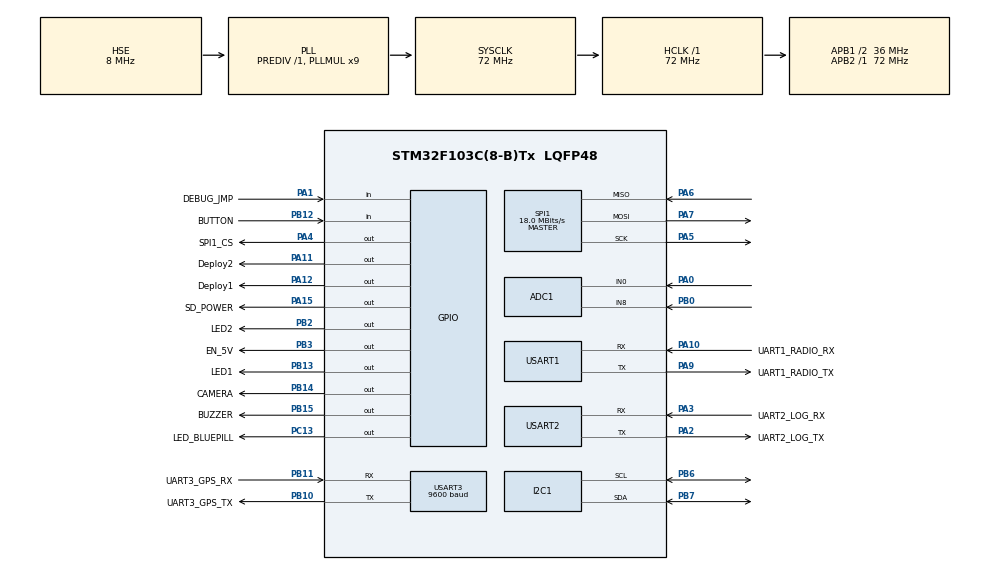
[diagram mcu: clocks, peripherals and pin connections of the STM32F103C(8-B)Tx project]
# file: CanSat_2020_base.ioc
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ADC1.Channel-1\#ChannelRegularConversion=ADC_CHANNEL_0
ADC1.NbrOfConversionFlag=1
ADC1.Rank-1\#ChannelRegularConversion=1
ADC1.SamplingTime-1\#ChannelRegularConversion=ADC_SAMPLETIME_1CYCLE_5
ADC1.master=1
Dma.Request0=USART1_TX
Dma.Request1=USART1_RX
Dma.USART1_RX.1.Direction=DMA_PERIPH_TO_MEMORY
Dma.USART1_RX.1.Instance=DMA1_Channel5
Dma.USART1_RX.1.MemDataAlignment=DMA_MDATAALIGN_BYTE
Dma.USART1_RX.1.MemInc=DMA_MINC_ENABLE
Dma.USART1_RX.1.Mode=DMA_NORMAL
Dma.USART1_RX.1.PeriphDataAlignment=DMA_PDATAALIGN_BYTE
Dma.USART1_RX.1.PeriphInc=DMA_PINC_DISABLE
Dma.USART1_RX.1.Priority=DMA_PRIORITY_LOW
Dma.USART1_TX.0.Direction=DMA_MEMORY_TO_PERIPH
Dma.USART1_TX.0.Instance=DMA1_Channel4
Dma.USART1_TX.0.MemDataAlignment=DMA_MDATAALIGN_BYTE
Dma.USART1_TX.0.MemInc=DMA_MINC_ENABLE
Dma.USART1_TX.0.Mode=DMA_NORMAL
Dma.USART1_TX.0.PeriphDataAlignment=DMA_PDATAALIGN_BYTE
Dma.USART1_TX.0.PeriphInc=DMA_PINC_DISABLE
Dma.USART1_TX.0.Priority=DMA_PRIORITY_LOW
Mcu.Family=STM32F1
Mcu.Name=STM32F103C(8-B)Tx
Mcu.Package=LQFP48
NVIC.DMA1_Channel4_IRQn=true\:0\:0\:false\:false\:true\:false\:true
NVIC.DMA1_Channel5_IRQn=true\:0\:0\:false\:false\:true\:false\:true
NVIC.PriorityGroup=NVIC_PRIORITYGROUP_4
NVIC.TIM2_IRQn=true\:0\:0\:false\:false\:true\:true\:true
NVIC.TIM4_IRQn=true\:0\:0\:false\:false\:true\:true\:true
NVIC.USART1_IRQn=true\:0\:0\:false\:false\:true\:true\:true
NVIC.USART2_IRQn=true\:5\:0\:true\:false\:true\:true\:true
NVIC.USART3_IRQn=true\:5\:0\:true\:false\:true\:true\:true
PA0-WKUP.Signal=ADCx_IN0
PA1.GPIO_Label=DEBUG_JMP
PA1.Signal=GPIO_Input
PA10.GPIO_Label=UART1_RADIO_RX
PA10.Mode=Asynchronous
PA10.Signal=USART1_RX
PA11.GPIO_Label=Deploy2
PA11.Signal=GPIO_Output
PA12.GPIO_Label=Deploy1
PA12.Signal=GPIO_Output
PA13.Mode=Serial_Wire
PA13.Signal=SYS_JTMS-SWDIO
PA14.Mode=Serial_Wire
PA14.Signal=SYS_JTCK-SWCLK
PA15.GPIO_Label=SD_POWER
PA15.GPIO_PuPd=GPIO_NOPULL
PA15.PinState=GPIO_PIN_SET
PA15.Signal=GPIO_Output
PA2.GPIO_Label=UART2_LOG_TX
PA2.Mode=Asynchronous
PA2.Signal=USART2_TX
PA3.GPIO_Label=UART2_LOG_RX
PA3.Mode=Asynchronous
PA3.Signal=USART2_RX
PA4.GPIO_Label=SPI1_CS
PA4.GPIO_PuPd=GPIO_NOPULL
PA4.PinState=GPIO_PIN_SET
PA4.Signal=GPIO_Output
PA5.Mode=Full_Duplex_Master
PA5.Signal=SPI1_SCK
PA6.Mode=Full_Duplex_Master
PA6.Signal=SPI1_MISO
PA7.Mode=Full_Duplex_Master
PA7.Signal=SPI1_MOSI
PA9.GPIO_Label=UART1_RADIO_TX
PA9.Mode=Asynchronous
PA9.Signal=USART1_TX
PB0.Signal=ADCx_IN8
PB10.GPIO_Label=UART3_GPS_TX
PB10.Mode=Asynchronous
PB10.Signal=USART3_TX
PB11.GPIO_Label=UART3_GPS_RX
PB11.Mode=Asynchronous
PB11.Signal=USART3_RX
PB12.GPIO_Label=BUTTON
PB12.GPIO_PuPd=GPIO_PULLUP
PB12.Signal=GPIO_Input
PB13.GPIO_Label=LED1
PB13.Signal=GPIO_Output
PB14.GPIO_Label=CAMERA
PB14.Signal=GPIO_Output
PB15.GPIO_Label=BUZZER
PB15.Signal=GPIO_Output
PB2.GPIO_Label=LED2
PB2.PinState=GPIO_PIN_RESET
PB2.Signal=GPIO_Output
PB3.GPIO_Label=EN_5V
PB3.Signal=GPIO_Output
PB6.Mode=I2C
PB6.Signal=I2C1_SCL
PB7.Mode=I2C
PB7.Signal=I2C1_SDA
PC13-TAMPER-RTC.GPIO_Label=LED_BLUEPILL
PC13-TAMPER-RTC.Signal=GPIO_Output
PD0-OSC_IN.Mode=HSE-External-Oscillator
PD0-OSC_IN.Signal=RCC_OSC_IN
PD1-OSC_OUT.Mode=HSE-External-Oscillator
PD1-OSC_OUT.Signal=RCC_OSC_OUT
ProjectManager.HeapSize=0x200
ProjectManager.StackSize=0x400
ProjectManager.TargetToolchain=SW4STM32
RCC.ADCPresc=RCC_ADCPCLK2_DIV6
RCC.AHBFreq_Value=72000000
RCC.APB1CLKDivider=RCC_HCLK_DIV2
RCC.APB1Freq_Value=36000000
RCC.APB1TimFreq_Value=72000000
RCC.APB2Freq_Value=72000000
RCC.APB2TimFreq_Value=72000000
RCC.HCLKFreq_Value=72000000
RCC.PLLMUL=RCC_PLL_MUL9
RCC.PLLSourceVirtual=RCC_PLLSOURCE_HSE
RCC.SYSCLKFreq_VALUE=72000000
RCC.SYSCLKSource=RCC_SYSCLKSOURCE_PLLCLK
RCC.USBFreq_Value=48000000
RCC.USBPrescaler=RCC_USBCLKSOURCE_PLL_DIV1_5
RTC.Format=RTC_FORMAT_BIN
SH.ADCx_IN0.0=ADC1_IN0,IN0
SH.ADCx_IN8.0=ADC1_IN8,IN8
SPI1.BaudRatePrescaler=SPI_BAUDRATEPRESCALER_4
SPI1.CalculateBaudRate=18.0 MBits/s
SPI1.Direction=SPI_DIRECTION_2LINES
SPI1.Mode=SPI_MODE_MASTER
SPI1.VirtualType=VM_MASTER
TIM1.Period=1
TIM1.Prescaler=17
TIM2.AutoReloadPreload=TIM_AUTORELOAD_PRELOAD_DISABLE
TIM2.Period=499
TIM2.Prescaler=7199
TIM3.Period=65535
TIM3.Prescaler=21
TIM4.Channel-Output\ Compare1\ No\ Output=TIM_CHANNEL_1
TIM4.Channel-Output\ Compare2\ No\ Output=TIM_CHANNEL_2
TIM4.Channel-Output\ Compare3\ No\ Output=TIM_CHANNEL_3
TIM4.Period=10000
TIM4.Prescaler=48000
TIM4.Pulse-Output\ Compare1\ No\ Output=500
TIM4.Pulse-Output\ Compare2\ No\ Output=1300
TIM4.Pulse-Output\ Compare3\ No\ Output=9800
USART1.VirtualMode=VM_ASYNC
USART2.VirtualMode=VM_ASYNC
USART3.BaudRate=9600
USART3.VirtualMode=VM_ASYNC
VP_FATFS_VS_Generic.Mode=User_defined
VP_RTC_No_RTC_Output.Mode=RTC_OUT_NO
VP_RTC_VS_RTC_Activate.Mode=RTC_Enabled
VP_TIM1_VS_ClockSourceINT.Mode=Internal
VP_TIM2_VS_ClockSourceINT.Mode=Internal
VP_TIM3_VS_ClockSourceINT.Mode=Internal
VP_TIM4_VS_ClockSourceINT.Mode=Internal
VP_TIM4_VS_no_output1.Mode=Output Compare1 No Output
VP_TIM4_VS_no_output2.Mode=Output Compare2 No Output
VP_TIM4_VS_no_output3.Mode=Output Compare3 No Output
board=custom

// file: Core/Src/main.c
/* USER CODE BEGIN Header */
/**
  ******************************************************************************
  * @file           : main.c
  * @brief          : Main program body
  ******************************************************************************
  * This notice applies to any and all portions of this file
  * that are not between comment pairs USER CODE BEGIN and
  * USER CODE END. Other portions of this file, whether
  * inserted by the user or by software development tools
  * are owned by their respective copyright owners.
  *
  * Copyright (c) 2018 STMicroelectronics International N.V.
  * All rights reserved.
  *
  * Redistribution and use in source and binary forms, with or without
  * modification, are permitted, provided that the following conditions are met:
  *
  * 1. Redistribution of source code must retain the above copyright notice,
  *    this list of conditions and the following disclaimer.
  * 2. Redistributions in binary form must reproduce the above copyright notice,
  *    this list of conditions and the following disclaimer in the documentation
  *    and/or other materials provided with the distribution.
  * 3. Neither the name of STMicroelectronics nor the names of other
  *    contributors to this software may be used to endorse or promote products
  *    derived from this software without specific written permission.
  * 4. This software, including modifications and/or derivative works of this
  *    software, must execute solely and exclusively on microcontroller or
  *    microprocessor devices manufactured by or for STMicroelectronics.
  * 5. Redistribution and use of this software other than as permitted under
  *    this license is void and will automatically terminate your rights under
  *    this license.
  *
  * THIS SOFTWARE IS PROVIDED BY STMICROELECTRONICS AND CONTRIBUTORS "AS IS"
  * AND ANY EXPRESS, IMPLIED OR STATUTORY WARRANTIES, INCLUDING, BUT NOT
  * LIMITED TO, THE IMPLIED WARRANTIES OF MERCHANTABILITY, FITNESS FOR A
  * PARTICULAR PURPOSE AND NON-INFRINGEMENT OF THIRD PARTY INTELLECTUAL PROPERTY
  * RIGHTS ARE DISCLAIMED TO THE FULLEST EXTENT PERMITTED BY LAW. IN NO EVENT
  * SHALL STMICROELECTRONICS OR CONTRIBUTORS BE LIABLE FOR ANY DIRECT, INDIRECT,
  * INCIDENTAL, SPECIAL, EXEMPLARY, OR CONSEQUENTIAL DAMAGES (INCLUDING, BUT NOT
  * LIMITED TO, PROCUREMENT OF SUBSTITUTE GOODS OR SERVICES; LOSS OF USE, DATA,
  * OR PROFITS; OR BUSINESS INTERRUPTION) HOWEVER CAUSED AND ON ANY THEORY OF
  * LIABILITY, WHETHER IN CONTRACT, STRICT LIABILITY, OR TORT (INCLUDING
  * NEGLIGENCE OR OTHERWISE) ARISING IN ANY WAY OUT OF THE USE OF THIS SOFTWARE,
  * EVEN IF ADVISED OF THE POSSIBILITY OF SUCH DAMAGE.
  *
  ******************************************************************************
  */
/* USER CODE END Header */

#include "main.h"
#include "adc.h"
#include "dma.h"
#include "fatfs.h"
#include "i2c.h"
#include "rtc.h"
#include "spi.h"
#include "tim.h"
#include "usart.h"
#include "gpio.h"

/* USER CODE BEGIN Includes */

#include "Barometrer/barometer.h"
#include "Logger/logger.h"
#include "MPU/mpu.h"

/* USER CODE END Includes */

/* USER CODE BEGIN PV */
int16_t acc[3];
int16_t gyro[3];
int16_t pitch_;
int16_t roll_;

#define ALTITUDE_THRESHOLD 3.0
#define KALMAN_STAB_TIME 5000

float previousAltitude=0.0;

uint8_t cycle=0;

enum state_t {STATE_1_LAUNCHPAD=1, STATE_2_FLIGHTUP, STATE_3_FLIGHTDOWN, STATE_4_TOUCHDOWN};
enum state_t state=STATE_1_LAUNCHPAD;

/* USER CODE END PV */

void SystemClock_Config(void);

/* USER CODE BEGIN 0 */

// Frequency of TIM2 is 10Hz (PSC=7199, Counter Mode=UP, ARR=999, No Div., disable)
// est. real frequency is ~11Hz
// ver.2 ARR changed to 499 -> INT_FREQ ~ 30Hz
void HAL_TIM_PeriodElapsedCallback(TIM_HandleTypeDef *htim)
{
  if (htim->Instance == TIM2)
  {
	  if( barometerInitialized() )
	  {
			if(cycle % 2)
			{
			  getPressure();
			  requestTemperature();
			}
			else
			{
			  getTemperature();
			  requestPressure();
			}

			calculateAltitude();

			previousAltitude = k_altitude.value;

			kalmanUpdate(&k_pressure, bt_struct.pressure); // approx. 5s to establish value (with ~10Hz freq.)
			kalmanUpdate(&k_temperature, bt_struct.temperature); // approx. 3s to establish value (with ~30Hz freq.)
			kalmanUpdate(&k_altitude, bt_struct.altitude);

			//send2UART(LOG_UART, "%d %d %d %d\n",HAL_GetTick(), bt_struct.pressure, bt_struct.temperature, bt_struct.altitude);
			//send2UART(LOG_UART, "%d %d %d %d\n",HAL_GetTick(), (int)k_pressure.value,(int)k_temperature.value,(int)(k_altitude.value*100));
	  }

	 if(MPUInited())
	 {
		 readAccelerometer(acc);
		 roll_ = atan2(acc[1] , acc[2]) * 57.3;
		 pitch_ = atan2((- acc[0]) , sqrt(acc[1] * acc[1] + acc[2] * acc[2])) * 57.3;

		 kalmanUpdate(&k_accX, acc[0]);
		 kalmanUpdate(&k_accY, acc[1]);
		 kalmanUpdate(&k_accZ, acc[2]);

		 kalmanUpdate(&k_roll, roll_);
		 kalmanUpdate(&k_pitch, pitch_);
	 }

	 if(memoryInitialized())
	 {
		 if(cycle % 1 == 0)
		 {
		 	// 13ms || 26ms (?) with 4-5 args.
			  send2Memory("%d,%d,%d,%d,%d,%d,%d,%d,%d,%d\n",HAL_GetTick(),
					  (int)k_pressure.value,(int)k_temperature.value,(int)(k_altitude.value*10),(int)k_accX.value,
					  (int)k_accY.value,(int)k_accZ.value,(int)k_pitch.value,(int)k_roll.value,state);
		  }
		  HAL_GPIO_TogglePin(LED_BLUEPILL_GPIO_Port,LED_BLUEPILL_Pin);
	 }

	 if(getLogEnable())
	 {
		 send2UART(LOG_UART,"%d,%d,%d,%d,%d,%d,%d,%d,%d,%d\n",HAL_GetTick(),(int)k_pressure.value,
				 (int)k_temperature.value,(int)(k_altitude.value*10),(int)k_accX.value,(int)k_accY.value,
				 (int)k_accZ.value,(int)k_pitch.value,(int)k_roll.value,state);
	 }

	 // state machine playground
	    switch (state)
	    {
	       case STATE_1_LAUNCHPAD:
	          if (HAL_GetTick() > KALMAN_STAB_TIME && k_altitude.value > ALTITUDE_THRESHOLD) // T1
	          {
	             state = STATE_2_FLIGHTUP;
	          }
	          break;
	       case STATE_2_FLIGHTUP:
	    	  if(k_altitude.value < previousAltitude)  // T2
	    	  {
	    		  state = STATE_3_FLIGHTDOWN;
	    	  }
	          break;
	       case STATE_3_FLIGHTDOWN:
	    	  if(k_altitude.value < ALTITUDE_THRESHOLD)  // T3
	    	  {
	    		  state = STATE_4_TOUCHDOWN;
	    	  }
	          break;
	       case STATE_4_TOUCHDOWN:
	    	  //
	          break;
	       default:
	          state = STATE_1_LAUNCHPAD;
	    }
	 // end of pg

	cycle++;
  }
}

/* USER CODE END 0 */

int main(void)
{

  /* MCU Configuration--------------------------------------------------------*/

  /* Reset of all peripherals, Initializes the Flash interface and the Systick. */
  HAL_Init();

  /* Configure the system clock */
  SystemClock_Config();

  /* Initialize all configured peripherals */
  MX_GPIO_Init();
  MX_DMA_Init();
  MX_USART1_UART_Init();
  MX_I2C1_Init();
  MX_USART2_UART_Init();
  MX_USART3_UART_Init();
  MX_SPI1_Init();
  MX_TIM3_Init();
  MX_RTC_Init();
  MX_TIM2_Init();
  MX_FATFS_Init();
  MX_TIM1_Init();
  MX_TIM4_Init();
  MX_ADC1_Init();
  /* USER CODE BEGIN 2 */

	HAL_GPIO_WritePin(LED_BLUEPILL_GPIO_Port,LED_BLUEPILL_Pin, GPIO_PIN_SET);

	send2UART(LOG_UART,"Lisa 1 for CanSat 2020 Rocket by Tobiasz Puslecki\n");
	send2UART(LOG_UART, "Work in progress...\n");
	send2UART(LOG_UART, "Rev. : %s, %s\n",__DATE__,__TIME__);

	uint8_t sdInitCycle=5;
	while(sdInitCycle--)
	{
		if( MemoryInit() )
		{
		  send2UART(LOG_UART,"SD init error! [%d]\n",sdInitCycle+1);
		  HAL_Delay(100);

		}
		else
		{
			send2UART(LOG_UART,"SD init successed!\n");
			send2UART(LOG_UART, "File idx: %d\n", openLogFile());

			send2Memory("time,pres,temp,alt,accx,accy,accz,pitch,roll,state\n");
			break;
		}
	}
	if( !memoryInitialized() )
	{
		send2UART(LOG_UART,"SD INIT CRITICAL ERROR!\n");
		HAL_GPIO_WritePin(LED_BLUEPILL_GPIO_Port,LED_BLUEPILL_Pin, GPIO_PIN_RESET);
		return -1;
	}

	if( BarometerInit() ) // with hires param in function BarometerInit()
	{
		send2UART(LOG_UART,"Barometer init error!\n");
		HAL_GPIO_WritePin(LED_BLUEPILL_GPIO_Port,LED_BLUEPILL_Pin, GPIO_PIN_RESET);
		return -1;
	}
	else
	{
		send2UART(LOG_UART,"Barometer init successed!\n");
	}

	if( MPUInit(0x71) ) 	// 	Ascale Gscale Mscale may be configured in mpu9250.c
	{
		send2UART(LOG_UART,"MPU init error!\n");
		HAL_GPIO_WritePin(LED_BLUEPILL_GPIO_Port,LED_BLUEPILL_Pin, GPIO_PIN_RESET);
		return -1;
	}
	else
	{
		send2UART(LOG_UART,"MPU init successed!\n");
	}

	setLogEnable(1);

	// TIM2 init
	HAL_TIM_Base_Start_IT(&htim2);

  /* USER CODE END 2 */

  /* Infinite loop */
	while (1)
	{

	}
}

void SystemClock_Config(void)
{
  RCC_OscInitTypeDef RCC_OscInitStruct = {0};
  RCC_ClkInitTypeDef RCC_ClkInitStruct = {0};
  RCC_PeriphCLKInitTypeDef PeriphClkInit = {0};

  /** Initializes the CPU, AHB and APB busses clocks
  */
  RCC_OscInitStruct.OscillatorType = RCC_OSCILLATORTYPE_LSI|RCC_OSCILLATORTYPE_HSE;
  RCC_OscInitStruct.HSEState = RCC_HSE_ON;
  RCC_OscInitStruct.HSEPredivValue = RCC_HSE_PREDIV_DIV1;
  RCC_OscInitStruct.HSIState = RCC_HSI_ON;
  RCC_OscInitStruct.LSIState = RCC_LSI_ON;
  RCC_OscInitStruct.PLL.PLLState = RCC_PLL_ON;
  RCC_OscInitStruct.PLL.PLLSource = RCC_PLLSOURCE_HSE;
  RCC_OscInitStruct.PLL.PLLMUL = RCC_PLL_MUL9;
  if (HAL_RCC_OscConfig(&RCC_OscInitStruct) != HAL_OK)
  {
    Error_Handler();
  }
  /** Initializes the CPU, AHB and APB busses clocks
  */
  RCC_ClkInitStruct.ClockType = RCC_CLOCKTYPE_HCLK|RCC_CLOCKTYPE_SYSCLK
                              |RCC_CLOCKTYPE_PCLK1|RCC_CLOCKTYPE_PCLK2;
  RCC_ClkInitStruct.SYSCLKSource = RCC_SYSCLKSOURCE_PLLCLK;
  RCC_ClkInitStruct.AHBCLKDivider = RCC_SYSCLK_DIV1;
  RCC_ClkInitStruct.APB1CLKDivider = RCC_HCLK_DIV2;
  RCC_ClkInitStruct.APB2CLKDivider = RCC_HCLK_DIV1;

  if (HAL_RCC_ClockConfig(&RCC_ClkInitStruct, FLASH_LATENCY_2) != HAL_OK)
  {
    Error_Handler();
  }
  PeriphClkInit.PeriphClockSelection = RCC_PERIPHCLK_RTC|RCC_PERIPHCLK_ADC;
  PeriphClkInit.RTCClockSelection = RCC_RTCCLKSOURCE_LSI;
  PeriphClkInit.AdcClockSelection = RCC_ADCPCLK2_DIV6;
  if (HAL_RCCEx_PeriphCLKConfig(&PeriphClkInit) != HAL_OK)
  {
    Error_Handler();
  }
}

void Error_Handler(void)
{
}

/************************ (C) COPYRIGHT STMicroelectronics *****END OF FILE****/
